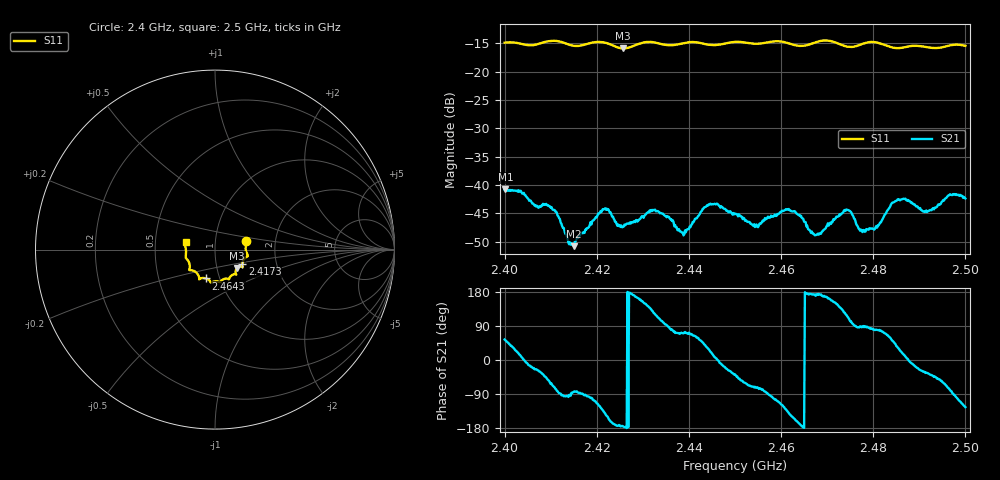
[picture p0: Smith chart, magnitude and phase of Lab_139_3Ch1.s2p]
# Hz S RI R 50
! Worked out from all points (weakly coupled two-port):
!   601 points, 2.4 GHz to 2.5 GHz, reference 50 ohm
!   highest |S21| = -40.77 dB at 2.4002 GHz (marker M1); lowest = -50.8 dB at 2.415 GHz (marker M2)
!   lowest |S11| = -15.9 dB at 2.4257 GHz (marker M3), VSWR 1.38, Z = 62.5 - j13.2 ohm
!   |S11| at or under -10 dB: start of sweep to end of sweep
!   S12 and S22 are empty: the file has one direction only
!   S11 on the Smith chart (normalised r, x): 2.4 GHz: 1.41, +0.14; 2.4173 GHz: 1.34, -0.23; 2.4643 GHz: 0.86, -0.29; 2.5 GHz: 0.72, +0.06
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2.4e9  0.1732 0.0488  0.00534 0.00736  0 0  0 0
2.400167e9  0.174 0.0482  0.00558 0.00725  0 0  0 0
2.409667e9  0.1829 -0.0323  0.0037 -0.00536  0 0  0 0
2.415e9  0.1595 -0.0555  0.000297 -0.00288  0 0  0 0
2.416667e9  0.1529 -0.0744  5.9e-05 -0.00378  0 0  0 0
2.417333e9  0.1522 -0.0819  -0.000205 -0.00378  0 0  0 0
2.421667e9  0.1527 -0.0959  -0.0046 -0.00409  0 0  0 0
2.425667e9  0.123 -0.1026  -0.00425 -0.000386  0 0  0 0
2.433333e9  0.1127 -0.1373  -0.00218 0.00545  0 0  0 0
2.4385e9  0.0811 -0.1568  0.00125 0.00361  0 0  0 0
2.4445e9  0.0597 -0.1615  0.00616 0.00282  0 0  0 0
2.45e9  0.0284 -0.1807  0.00441 -0.00344  0 0  0 0
2.4545e9  0.00604 -0.1761  0.0013 -0.00416  0 0  0 0
2.461167e9  -0.0269 -0.1779  -0.00407 -0.00452  0 0  0 0
2.464333e9  -0.0501 -0.1608  -0.00531 -0.000661  0 0  0 0
2.466667e9  -0.0762 -0.1593  -0.00387 0.000449  0 0  0 0
2.474167e9  -0.0987 -0.1343  -0.00296 0.00533  0 0  0 0
2.477167e9  -0.1279 -0.1158  7.1e-05 0.00396  0 0  0 0
2.48e9  -0.1433 -0.1132  0.000712 0.00407  0 0  0 0
2.483333e9  -0.1405 -0.0898  0.00285 0.00546  0 0  0 0
2.4915e9  -0.1618 -0.0304  0.00499 -0.00327  0 0  0 0
2.5e9  -0.1633 0.0424  -0.00431 -0.00628  0 0  0 0
